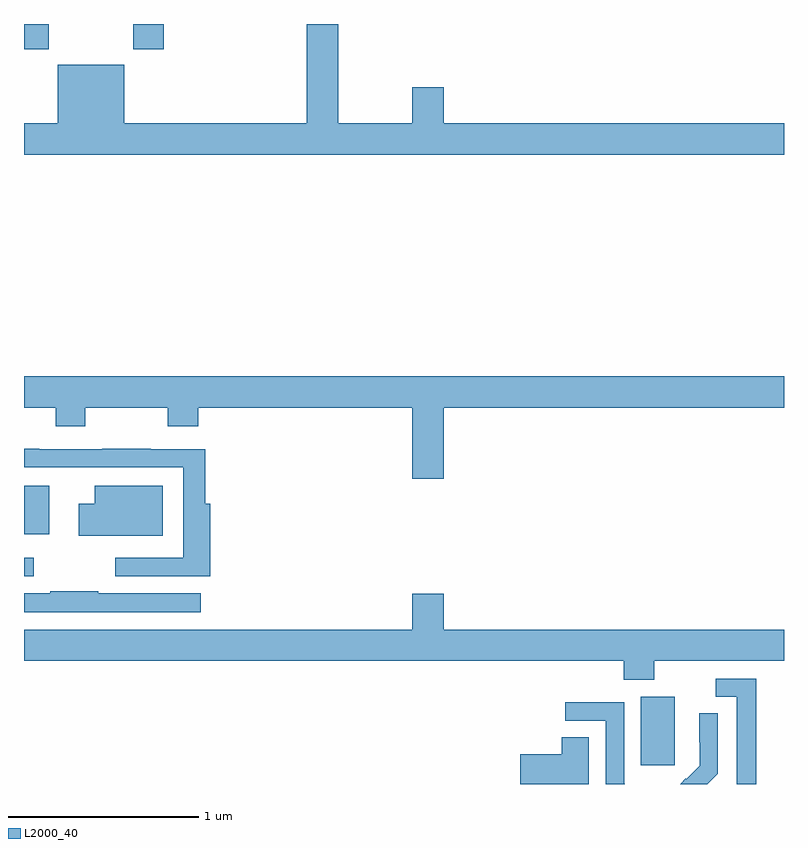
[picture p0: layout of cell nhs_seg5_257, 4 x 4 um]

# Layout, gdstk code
import gdstk
lib = gdstk.Library(unit=1e-6, precision=1e-09)
def R(c, l, rs):  # rectangles x0, y0, x1, y1
    for r in rs: c.add(gdstk.rectangle(r[:2], r[2:], *l))
def P(c, l, *ps):  # polygons
    for p in ps: c.add(gdstk.Polygon(p, *l))
L2000_40 = (2000, 40)

nhs_seg5_257 = lib.new_cell('nhs_seg5_257')
R(nhs_seg5_257, L2000_40, [(130.247,834.897,130.426,835.258), (127,835.893,127.051,835.989), (127,836.114,127.132,836.368), (127,838.665,127.131,838.799), (127.576,838.665,127.736,838.799)])
P(nhs_seg5_257, L2000_40, [(131,838.276),(129.208,838.276),(129.208,838.465),(129.044,838.465),(129.044,838.276),(128.653,838.276),(128.653,838.799),(128.489,838.799),(128.489,838.276),(127.528,838.276),(127.528,838.585),(127.178,838.585),(127.178,838.276),(127,838.276),(127,838.112),(131,838.112)],
  [(129.208,836.78),(131,836.78),(131,836.944),(127,836.944),(127,836.78),(127.168,836.78),(127.168,836.681),(127.323,836.681),(127.323,836.78),(127.756,836.78),(127.756,836.681),(127.916,836.681),(127.916,836.78),(129.044,836.78),(129.044,836.406),(129.208,836.406)],
  [(127.979,836.275),(127.955,836.275),(127.955,836.562),(127.667,836.562),(127.667,836.564),(127.411,836.564),(127.411,836.562),(127.079,836.562),(127.079,836.564),(127,836.564),(127,836.466),(127.839,836.466),(127.839,835.989),(127.479,835.989),(127.479,835.893),(127.979,835.893)],
  [(127.729,836.368),(127.373,836.368),(127.373,836.275),(127.289,836.275),(127.289,836.105),(127.729,836.105)],
  [(127.93,835.804),(127.391,835.804),(127.391,835.814),(127.138,835.814),(127.138,835.804),(127,835.804),(127,835.703),(127.93,835.703)],
  [(130.317,835.448),(131,835.448),(131,835.612),(129.208,835.612),(129.208,835.801),(129.044,835.801),(129.044,835.612),(127,835.612),(127,835.448),(130.157,835.448),(130.157,835.349),(130.317,835.349)],
  [(130.855,835.353),(130.641,835.353),(130.641,835.257),(130.751,835.257),(130.751,834.799),(130.855,834.799)],
  [(130.161,834.8),(130.158,834.8),(130.158,835.23),(129.849,835.23),(129.849,835.131),(130.062,835.131),(130.062,834.799),(130.161,834.799)],
  [(130.65,834.854),(130.65,835.172),(130.554,835.172),(130.554,835.018),(130.556,835.018),(130.556,834.896),(130.485,834.825),(130.482,834.828),(130.453,834.799),(130.595,834.799)],
  [(129.973,835.046),(129.83,835.046),(129.83,834.956),(129.612,834.956),(129.612,834.799),(129.973,834.799)])

lib.write_gds('nhs_seg5_257.gds')
